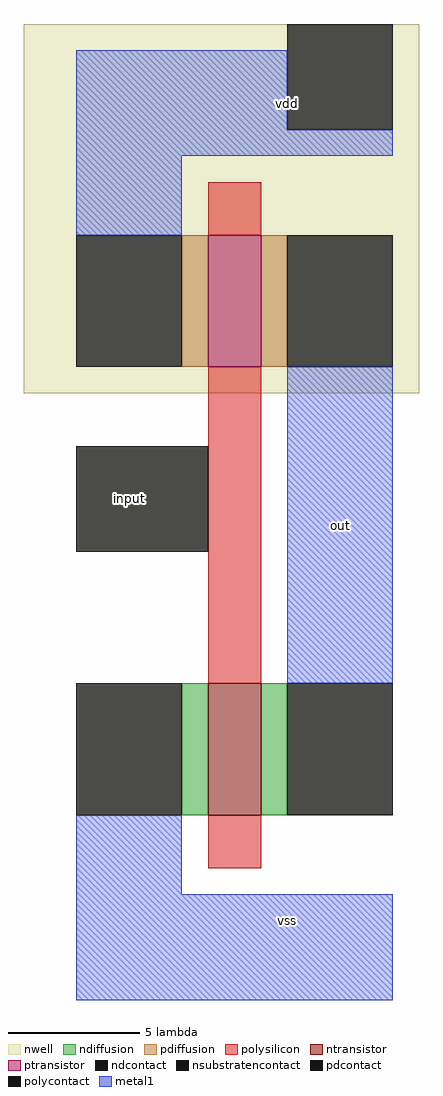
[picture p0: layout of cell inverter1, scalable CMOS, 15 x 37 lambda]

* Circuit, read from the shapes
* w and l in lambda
.subckt inverter1 input out vdd vss
M1 out input vss VSUBS nfet w=5 l=2
M2 out input vdd vdd pfet w=5 l=2
.ends

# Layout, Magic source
magic
tech scmos
<< nwell >>
rect 4 13 19 27
<< polysilicon >>
rect 11 19 13 21
rect 11 2 13 14
rect 11 -5 13 -3
<< ndiffusion >>
rect 10 -3 11 2
rect 13 -3 14 2
<< pdiffusion >>
rect 10 14 11 19
rect 13 14 14 19
<< metal1 >>
rect 6 23 14 26
rect 6 22 18 23
rect 6 19 10 22
rect 14 2 18 14
rect 6 -6 10 -3
rect 6 -10 18 -6
<< ntransistor >>
rect 11 -3 13 2
<< ptransistor >>
rect 11 14 13 19
<< polycontact >>
rect 6 7 11 11
<< ndcontact >>
rect 6 -3 10 2
rect 14 -3 18 2
<< pdcontact >>
rect 6 14 10 19
rect 14 14 18 19
<< nsubstratencontact >>
rect 14 23 18 27
<< labels >>
rlabel polycontact 8 9 8 9 3 input
rlabel metal1 14 -7 14 -7 1 vss
rlabel metal1 16 8 16 8 7 out
rlabel metal1 14 24 14 24 5 vdd
<< end >>
